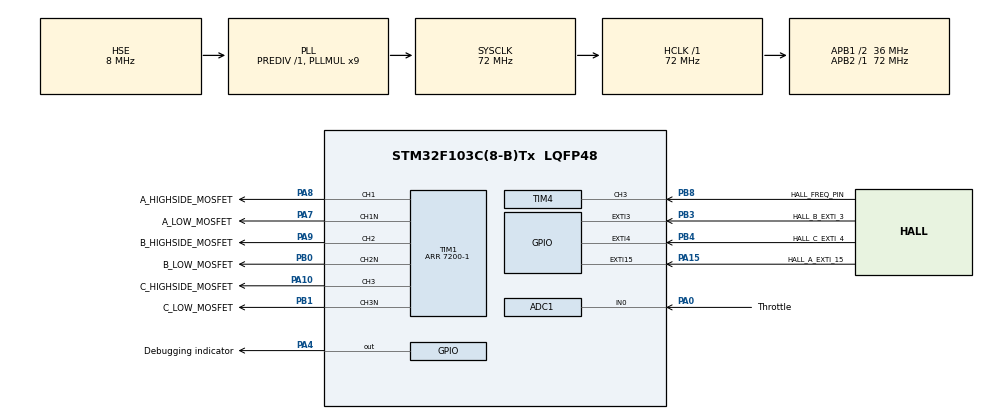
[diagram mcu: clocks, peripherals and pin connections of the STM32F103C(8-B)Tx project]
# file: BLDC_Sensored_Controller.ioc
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ADC1.Channel-0\#ChannelRegularConversion=ADC_CHANNEL_0
ADC1.ExternalTrigConv=ADC_EXTERNALTRIGCONV_T3_TRGO
ADC1.NbrOfConversionFlag=1
ADC1.Rank-0\#ChannelRegularConversion=1
ADC1.SamplingTime-0\#ChannelRegularConversion=ADC_SAMPLETIME_1CYCLE_5
ADC1.master=1
Mcu.Family=STM32F1
Mcu.Name=STM32F103C(8-B)Tx
Mcu.Package=LQFP48
NVIC.ADC1_2_IRQn=true\:0\:0\:false\:false\:true\:true\:true\:true
NVIC.EXTI15_10_IRQn=true\:0\:0\:false\:false\:true\:true\:true\:true
NVIC.EXTI3_IRQn=true\:0\:0\:false\:false\:true\:true\:true\:true
NVIC.EXTI4_IRQn=true\:0\:0\:false\:false\:true\:true\:true\:true
NVIC.PriorityGroup=NVIC_PRIORITYGROUP_4
NVIC.TIM4_IRQn=true\:0\:0\:false\:false\:true\:true\:true\:true
PA0-WKUP.GPIO_Label=Throttle
PA0-WKUP.Signal=ADCx_IN0
PA10.GPIO_Label=C_HIGHSIDE_MOSFET
PA10.Signal=S_TIM1_CH3
PA13.Mode=Serial_Wire
PA13.Signal=SYS_JTMS-SWDIO
PA14.Mode=Serial_Wire
PA14.Signal=SYS_JTCK-SWCLK
PA15.GPIO_Label=HALL_A_EXTI_15
PA15.GPIO_ModeDefaultEXTI=GPIO_MODE_IT_RISING_FALLING
PA15.GPIO_PuPd=GPIO_PULLUP
PA15.Signal=GPXTI15
PA4.GPIO_Label=Debugging indicator 
PA4.GPIO_Speed=GPIO_SPEED_FREQ_HIGH
PA4.Signal=GPIO_Output
PA7.GPIO_Label=A_LOW_MOSFET
PA7.Mode=PWM Generation1 CH1 CH1N
PA7.Signal=TIM1_CH1N
PA8.GPIO_Label=A_HIGHSIDE_MOSFET
PA8.Signal=S_TIM1_CH1
PA9.GPIO_Label=B_HIGHSIDE_MOSFET
PA9.Signal=S_TIM1_CH2
PB0.GPIO_Label=B_LOW_MOSFET
PB0.Mode=PWM Generation2 CH2 CH2N
PB0.Signal=TIM1_CH2N
PB1.GPIO_Label=C_LOW_MOSFET
PB1.Mode=PWM Generation3 CH3 CH3N
PB1.Signal=TIM1_CH3N
PB3.GPIO_Label=HALL_B_EXTI_3
PB3.GPIO_ModeDefaultEXTI=GPIO_MODE_IT_RISING_FALLING
PB3.GPIO_PuPd=GPIO_PULLUP
PB3.Signal=GPXTI3
PB4.GPIO_Label=HALL_C_EXTI_4
PB4.GPIO_ModeDefaultEXTI=GPIO_MODE_IT_RISING_FALLING
PB4.GPIO_PuPd=GPIO_PULLUP
PB4.Signal=GPXTI4
PB8.GPIO_Label=HALL_FREQ_PIN
PB8.Signal=S_TIM4_CH3
PD0-OSC_IN.Mode=HSE-External-Oscillator
PD0-OSC_IN.Signal=RCC_OSC_IN
PD1-OSC_OUT.Mode=HSE-External-Oscillator
PD1-OSC_OUT.Signal=RCC_OSC_OUT
ProjectManager.HeapSize=0x200
ProjectManager.StackSize=0x400
ProjectManager.TargetToolchain=STM32CubeIDE
RCC.ADCPresc=RCC_ADCPCLK2_DIV6
RCC.AHBFreq_Value=72000000
RCC.APB1CLKDivider=RCC_HCLK_DIV2
RCC.APB1Freq_Value=36000000
RCC.APB1TimFreq_Value=72000000
RCC.APB2Freq_Value=72000000
RCC.APB2TimFreq_Value=72000000
RCC.HCLKFreq_Value=72000000
RCC.PLLMUL=RCC_PLL_MUL9
RCC.PLLSourceVirtual=RCC_PLLSOURCE_HSE
RCC.SYSCLKFreq_VALUE=72000000
RCC.SYSCLKSource=RCC_SYSCLKSOURCE_PLLCLK
RCC.USBFreq_Value=72000000
SH.ADCx_IN0.0=ADC1_IN0,IN0
SH.S_TIM1_CH1.0=TIM1_CH1,PWM Generation1 CH1 CH1N
SH.S_TIM1_CH2.0=TIM1_CH2,PWM Generation2 CH2 CH2N
SH.S_TIM1_CH3.0=TIM1_CH3,PWM Generation3 CH3 CH3N
SH.S_TIM4_CH3.0=TIM4_CH3,Input_Capture3_from_TI3
TIM1.Channel-PWM\ Generation1\ CH1\ CH1N=TIM_CHANNEL_1
TIM1.Channel-PWM\ Generation2\ CH2\ CH2N=TIM_CHANNEL_2
TIM1.Channel-PWM\ Generation3\ CH3\ CH3N=TIM_CHANNEL_3
TIM1.OCNIdleState_1=TIM_OCNIDLESTATE_RESET
TIM1.OCNIdleState_2=TIM_OCNIDLESTATE_RESET
TIM1.OCNIdleState_3=TIM_OCNIDLESTATE_RESET
TIM1.Period=7200-1
TIM3.Channel-PWM\ Generation1\ No\ Output=TIM_CHANNEL_1
TIM3.Period=49999
TIM3.Prescaler=63
TIM3.TIM_MasterOutputTrigger=TIM_TRGO_UPDATE
TIM4.Channel-Input_Capture3_from_TI3=TIM_CHANNEL_3
TIM4.Prescaler=1097-1
VP_TIM1_VS_ClockSourceINT.Mode=Internal
VP_TIM3_VS_ClockSourceINT.Mode=Internal
VP_TIM3_VS_no_output1.Mode=PWM Generation1 No Output
VP_TIM4_VS_ClockSourceINT.Mode=Internal
board=custom

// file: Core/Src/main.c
/* USER CODE BEGIN Header */
/**
 ******************************************************************************
 * @file           : main.c
 * @brief          : Main program body
 ******************************************************************************
 * @attention
 *
 * Copyright (c) 2024 STMicroelectronics.
 * All rights reserved.
 *
 * This software is licensed under terms that can be found in the LICENSE file
 * in the root directory of this software component.
 * If no LICENSE file comes with this software, it is provided AS-IS.
 *
 ******************************************************************************
 */
/* USER CODE END Header */
#include "main.h"

/* USER CODE BEGIN Includes */
#include "../../hall_sensor/hall_sensor.h"
/* USER CODE END Includes */

/* USER CODE BEGIN PD */

/* ICU PD */
#define ICU_TIMCLOCK 72000000
#define ICU_MAX_TIMEOUT_COUNTS 2

/* USER CODE END PD */

ADC_HandleTypeDef hadc1;

TIM_HandleTypeDef htim1;
TIM_HandleTypeDef htim3;
TIM_HandleTypeDef htim4;

void SystemClock_Config(void);
static void MX_GPIO_Init(void);
static void MX_ADC1_Init(void);
static void MX_TIM1_Init(void);
static void MX_TIM3_Init(void);
static void MX_TIM4_Init(void);

/* USER CODE BEGIN 0 */

/*
 * Fetches speed % reading from throttle piece
 * Reads ADC data and remaps it to a percentage
 * @retval
 * */
uint8_t poll_speed();
/*
 * Start the peripheral for both channel and its complementary channel
 */
void set_ready_pwm_C_N(TIM_HandleTypeDef *htim, uint32_t channel);
/*
 * Starts pwm on a channel and its complement
 */
void start_pwm_C_N(TIM_HandleTypeDef *htim, uint32_t channel, uint16_t DC);
/*
 * Stops pwm on a channel and ~~Xits complementX~~ and sets complement to steady HIGH
 */
void stop_pwm_C_N(TIM_HandleTypeDef *htim, uint32_t channel);
// GLOBAL VARIABLES
HALL_SENSOR hs1, hs2, hs3;
HALL_STATE hstate;

volatile uint8_t Throttle_percent = 0;

/* ICU Variables */
volatile float hall_frequency = 0;
volatile float motor_rpm = 0;
volatile uint8_t ICU_timeout_count = 0;

/* USER CODE END 0 */

int main(void)
{

  /* MCU Configuration--------------------------------------------------------*/

  /* Reset of all peripherals, Initializes the Flash interface and the Systick. */
  HAL_Init();

  /* Configure the system clock */
  SystemClock_Config();

  /* Initialize all configured peripherals */
  MX_GPIO_Init();
  MX_ADC1_Init();
  MX_TIM1_Init();
  MX_TIM3_Init();
  MX_TIM4_Init();
  /* USER CODE BEGIN 2 */

	init_hall_sensor(&hs1, GPIOA, GPIO_PIN_15);
	init_hall_sensor(&hs2, GPIOB, GPIO_PIN_3);
	init_hall_sensor(&hs3, GPIOB, GPIO_PIN_4);

	HAL_TIM_Base_Start(&htim3); // Start Timer3 (Trigger Source For ADC1)
	HAL_ADC_Start_IT(&hadc1);   // 	Start ADC Conversion
	HAL_TIM_IC_Start_IT(&htim4, TIM_CHANNEL_3);

	set_ready_pwm_C_N(&htim1, TIM_CHANNEL_1);
	set_ready_pwm_C_N(&htim1, TIM_CHANNEL_2);
	set_ready_pwm_C_N(&htim1, TIM_CHANNEL_3);

	// Force trigger first hall capture to get the motor running
	EXTI->SWIER |= EXTI_SWIER_SWIER15; // Set the software interrupt for EXTI Line 15

  /* USER CODE END 2 */

  /* Infinite loop */
	while (1)
	{

	}
}

void SystemClock_Config(void)
{
  RCC_OscInitTypeDef RCC_OscInitStruct = {0};
  RCC_ClkInitTypeDef RCC_ClkInitStruct = {0};
  RCC_PeriphCLKInitTypeDef PeriphClkInit = {0};

  /** Initializes the RCC Oscillators according to the specified parameters
  * in the RCC_OscInitTypeDef structure.
  */
  RCC_OscInitStruct.OscillatorType = RCC_OSCILLATORTYPE_HSE;
  RCC_OscInitStruct.HSEState = RCC_HSE_ON;
  RCC_OscInitStruct.HSEPredivValue = RCC_HSE_PREDIV_DIV1;
  RCC_OscInitStruct.HSIState = RCC_HSI_ON;
  RCC_OscInitStruct.PLL.PLLState = RCC_PLL_ON;
  RCC_OscInitStruct.PLL.PLLSource = RCC_PLLSOURCE_HSE;
  RCC_OscInitStruct.PLL.PLLMUL = RCC_PLL_MUL9;
  if (HAL_RCC_OscConfig(&RCC_OscInitStruct) != HAL_OK)
  {
    Error_Handler();
  }

  /** Initializes the CPU, AHB and APB buses clocks
  */
  RCC_ClkInitStruct.ClockType = RCC_CLOCKTYPE_HCLK|RCC_CLOCKTYPE_SYSCLK
                              |RCC_CLOCKTYPE_PCLK1|RCC_CLOCKTYPE_PCLK2;
  RCC_ClkInitStruct.SYSCLKSource = RCC_SYSCLKSOURCE_PLLCLK;
  RCC_ClkInitStruct.AHBCLKDivider = RCC_SYSCLK_DIV1;
  RCC_ClkInitStruct.APB1CLKDivider = RCC_HCLK_DIV2;
  RCC_ClkInitStruct.APB2CLKDivider = RCC_HCLK_DIV1;

  if (HAL_RCC_ClockConfig(&RCC_ClkInitStruct, FLASH_LATENCY_2) != HAL_OK)
  {
    Error_Handler();
  }
  PeriphClkInit.PeriphClockSelection = RCC_PERIPHCLK_ADC;
  PeriphClkInit.AdcClockSelection = RCC_ADCPCLK2_DIV6;
  if (HAL_RCCEx_PeriphCLKConfig(&PeriphClkInit) != HAL_OK)
  {
    Error_Handler();
  }
}

static void MX_ADC1_Init(void)
{

  ADC_ChannelConfTypeDef sConfig = {0};

  /** Common config
  */
  hadc1.Instance = ADC1;
  hadc1.Init.ScanConvMode = ADC_SCAN_DISABLE;
  hadc1.Init.ContinuousConvMode = DISABLE;
  hadc1.Init.DiscontinuousConvMode = DISABLE;
  hadc1.Init.ExternalTrigConv = ADC_EXTERNALTRIGCONV_T3_TRGO;
  hadc1.Init.DataAlign = ADC_DATAALIGN_RIGHT;
  hadc1.Init.NbrOfConversion = 1;
  if (HAL_ADC_Init(&hadc1) != HAL_OK)
  {
    Error_Handler();
  }

  /** Configure Regular Channel
  */
  sConfig.Channel = ADC_CHANNEL_0;
  sConfig.Rank = ADC_REGULAR_RANK_1;
  sConfig.SamplingTime = ADC_SAMPLETIME_1CYCLE_5;
  if (HAL_ADC_ConfigChannel(&hadc1, &sConfig) != HAL_OK)
  {
    Error_Handler();
  }

}

static void MX_TIM1_Init(void)
{

  TIM_ClockConfigTypeDef sClockSourceConfig = {0};
  TIM_MasterConfigTypeDef sMasterConfig = {0};
  TIM_OC_InitTypeDef sConfigOC = {0};
  TIM_BreakDeadTimeConfigTypeDef sBreakDeadTimeConfig = {0};

  htim1.Instance = TIM1;
  htim1.Init.Prescaler = 0;
  htim1.Init.CounterMode = TIM_COUNTERMODE_UP;
  htim1.Init.Period = 7200-1;
  htim1.Init.ClockDivision = TIM_CLOCKDIVISION_DIV1;
  htim1.Init.RepetitionCounter = 0;
  htim1.Init.AutoReloadPreload = TIM_AUTORELOAD_PRELOAD_DISABLE;
  if (HAL_TIM_Base_Init(&htim1) != HAL_OK)
  {
    Error_Handler();
  }
  sClockSourceConfig.ClockSource = TIM_CLOCKSOURCE_INTERNAL;
  if (HAL_TIM_ConfigClockSource(&htim1, &sClockSourceConfig) != HAL_OK)
  {
    Error_Handler();
  }
  if (HAL_TIM_PWM_Init(&htim1) != HAL_OK)
  {
    Error_Handler();
  }
  sMasterConfig.MasterOutputTrigger = TIM_TRGO_RESET;
  sMasterConfig.MasterSlaveMode = TIM_MASTERSLAVEMODE_DISABLE;
  if (HAL_TIMEx_MasterConfigSynchronization(&htim1, &sMasterConfig) != HAL_OK)
  {
    Error_Handler();
  }
  sConfigOC.OCMode = TIM_OCMODE_PWM1;
  sConfigOC.Pulse = 0;
  sConfigOC.OCPolarity = TIM_OCPOLARITY_HIGH;
  sConfigOC.OCNPolarity = TIM_OCNPOLARITY_HIGH;
  sConfigOC.OCFastMode = TIM_OCFAST_DISABLE;
  sConfigOC.OCIdleState = TIM_OCIDLESTATE_RESET;
  sConfigOC.OCNIdleState = TIM_OCNIDLESTATE_RESET;
  if (HAL_TIM_PWM_ConfigChannel(&htim1, &sConfigOC, TIM_CHANNEL_1) != HAL_OK)
  {
    Error_Handler();
  }
  if (HAL_TIM_PWM_ConfigChannel(&htim1, &sConfigOC, TIM_CHANNEL_2) != HAL_OK)
  {
    Error_Handler();
  }
  if (HAL_TIM_PWM_ConfigChannel(&htim1, &sConfigOC, TIM_CHANNEL_3) != HAL_OK)
  {
    Error_Handler();
  }
  sBreakDeadTimeConfig.OffStateRunMode = TIM_OSSR_DISABLE;
  sBreakDeadTimeConfig.OffStateIDLEMode = TIM_OSSI_DISABLE;
  sBreakDeadTimeConfig.LockLevel = TIM_LOCKLEVEL_OFF;
  sBreakDeadTimeConfig.DeadTime = 0;
  sBreakDeadTimeConfig.BreakState = TIM_BREAK_DISABLE;
  sBreakDeadTimeConfig.BreakPolarity = TIM_BREAKPOLARITY_HIGH;
  sBreakDeadTimeConfig.AutomaticOutput = TIM_AUTOMATICOUTPUT_DISABLE;
  if (HAL_TIMEx_ConfigBreakDeadTime(&htim1, &sBreakDeadTimeConfig) != HAL_OK)
  {
    Error_Handler();
  }
  HAL_TIM_MspPostInit(&htim1);

}

static void MX_TIM3_Init(void)
{

  TIM_ClockConfigTypeDef sClockSourceConfig = {0};
  TIM_MasterConfigTypeDef sMasterConfig = {0};
  TIM_OC_InitTypeDef sConfigOC = {0};

  htim3.Instance = TIM3;
  htim3.Init.Prescaler = 63;
  htim3.Init.CounterMode = TIM_COUNTERMODE_UP;
  htim3.Init.Period = 49999;
  htim3.Init.ClockDivision = TIM_CLOCKDIVISION_DIV1;
  htim3.Init.AutoReloadPreload = TIM_AUTORELOAD_PRELOAD_DISABLE;
  if (HAL_TIM_Base_Init(&htim3) != HAL_OK)
  {
    Error_Handler();
  }
  sClockSourceConfig.ClockSource = TIM_CLOCKSOURCE_INTERNAL;
  if (HAL_TIM_ConfigClockSource(&htim3, &sClockSourceConfig) != HAL_OK)
  {
    Error_Handler();
  }
  if (HAL_TIM_PWM_Init(&htim3) != HAL_OK)
  {
    Error_Handler();
  }
  sMasterConfig.MasterOutputTrigger = TIM_TRGO_UPDATE;
  sMasterConfig.MasterSlaveMode = TIM_MASTERSLAVEMODE_DISABLE;
  if (HAL_TIMEx_MasterConfigSynchronization(&htim3, &sMasterConfig) != HAL_OK)
  {
    Error_Handler();
  }
  sConfigOC.OCMode = TIM_OCMODE_PWM1;
  sConfigOC.Pulse = 0;
  sConfigOC.OCPolarity = TIM_OCPOLARITY_HIGH;
  sConfigOC.OCFastMode = TIM_OCFAST_DISABLE;
  if (HAL_TIM_PWM_ConfigChannel(&htim3, &sConfigOC, TIM_CHANNEL_1) != HAL_OK)
  {
    Error_Handler();
  }

}

static void MX_TIM4_Init(void)
{

  TIM_ClockConfigTypeDef sClockSourceConfig = {0};
  TIM_MasterConfigTypeDef sMasterConfig = {0};
  TIM_IC_InitTypeDef sConfigIC = {0};

  htim4.Instance = TIM4;
  htim4.Init.Prescaler = 1097-1;
  htim4.Init.CounterMode = TIM_COUNTERMODE_UP;
  htim4.Init.Period = 65535;
  htim4.Init.ClockDivision = TIM_CLOCKDIVISION_DIV1;
  htim4.Init.AutoReloadPreload = TIM_AUTORELOAD_PRELOAD_DISABLE;
  if (HAL_TIM_Base_Init(&htim4) != HAL_OK)
  {
    Error_Handler();
  }
  sClockSourceConfig.ClockSource = TIM_CLOCKSOURCE_INTERNAL;
  if (HAL_TIM_ConfigClockSource(&htim4, &sClockSourceConfig) != HAL_OK)
  {
    Error_Handler();
  }
  if (HAL_TIM_IC_Init(&htim4) != HAL_OK)
  {
    Error_Handler();
  }
  sMasterConfig.MasterOutputTrigger = TIM_TRGO_RESET;
  sMasterConfig.MasterSlaveMode = TIM_MASTERSLAVEMODE_DISABLE;
  if (HAL_TIMEx_MasterConfigSynchronization(&htim4, &sMasterConfig) != HAL_OK)
  {
    Error_Handler();
  }
  sConfigIC.ICPolarity = TIM_INPUTCHANNELPOLARITY_RISING;
  sConfigIC.ICSelection = TIM_ICSELECTION_DIRECTTI;
  sConfigIC.ICPrescaler = TIM_ICPSC_DIV1;
  sConfigIC.ICFilter = 0;
  if (HAL_TIM_IC_ConfigChannel(&htim4, &sConfigIC, TIM_CHANNEL_3) != HAL_OK)
  {
    Error_Handler();
  }
  /* USER CODE BEGIN TIM4_Init 2 */
	// Enable update interrupt
	__HAL_TIM_ENABLE_IT(&htim4, TIM_IT_UPDATE);
  /* USER CODE END TIM4_Init 2 */

}

static void MX_GPIO_Init(void)
{
  GPIO_InitTypeDef GPIO_InitStruct = {0};

  /* GPIO Ports Clock Enable */
  __HAL_RCC_GPIOD_CLK_ENABLE();
  __HAL_RCC_GPIOA_CLK_ENABLE();
  __HAL_RCC_GPIOB_CLK_ENABLE();

  /*Configure GPIO pin Output Level */
  HAL_GPIO_WritePin(Debugging_indicator_GPIO_Port, Debugging_indicator_Pin, GPIO_PIN_RESET);

  /*Configure GPIO pin : Debugging_indicator_Pin */
  GPIO_InitStruct.Pin = Debugging_indicator_Pin;
  GPIO_InitStruct.Mode = GPIO_MODE_OUTPUT_PP;
  GPIO_InitStruct.Pull = GPIO_NOPULL;
  GPIO_InitStruct.Speed = GPIO_SPEED_FREQ_HIGH;
  HAL_GPIO_Init(Debugging_indicator_GPIO_Port, &GPIO_InitStruct);

  /*Configure GPIO pin : HALL_A_EXTI_15_Pin */
  GPIO_InitStruct.Pin = HALL_A_EXTI_15_Pin;
  GPIO_InitStruct.Mode = GPIO_MODE_IT_RISING_FALLING;
  GPIO_InitStruct.Pull = GPIO_PULLUP;
  HAL_GPIO_Init(HALL_A_EXTI_15_GPIO_Port, &GPIO_InitStruct);

  /*Configure GPIO pins : HALL_B_EXTI_3_Pin HALL_C_EXTI_4_Pin */
  GPIO_InitStruct.Pin = HALL_B_EXTI_3_Pin|HALL_C_EXTI_4_Pin;
  GPIO_InitStruct.Mode = GPIO_MODE_IT_RISING_FALLING;
  GPIO_InitStruct.Pull = GPIO_PULLUP;
  HAL_GPIO_Init(GPIOB, &GPIO_InitStruct);

  /* EXTI interrupt init*/
  HAL_NVIC_SetPriority(EXTI3_IRQn, 0, 0);
  HAL_NVIC_EnableIRQ(EXTI3_IRQn);

  HAL_NVIC_SetPriority(EXTI4_IRQn, 0, 0);
  HAL_NVIC_EnableIRQ(EXTI4_IRQn);

  HAL_NVIC_SetPriority(EXTI15_10_IRQn, 0, 0);
  HAL_NVIC_EnableIRQ(EXTI15_10_IRQn);

}

/* USER CODE BEGIN 4 */

uint8_t poll_speed()
{
	//gonna use it for naive digital filter
	static uint16_t last_val = 0;
	uint16_t adc_val;
	/*
	 HAL_ADC_Start(&hadc1); // start the adc

	 HAL_ADC_PollForConversion(&hadc1, 100); // poll for conversion

	 adc_val = HAL_ADC_GetValue(&hadc1); // get the adc value

	 HAL_ADC_Stop(&hadc1); // stop adc
	 */
	adc_val = HAL_ADC_GetValue(&hadc1);
	// steps range : 496 (400 mv) => 1539 (1.24v)
	if (adc_val < 496)
		adc_val = 496;
	if (adc_val > 1539)
		adc_val = 1539;
	if (adc_val >= last_val)
		adc_val = last_val + (adc_val - last_val) / 2;
	else
		adc_val = last_val - (last_val - adc_val) / 2;
	last_val = adc_val;
	return (adc_val - 496) * (uint16_t) (100) / (1539 - 496);
}
void start_pwm_C_N(TIM_HandleTypeDef *htim, uint32_t channel, uint16_t CC_VAL)
{
	switch (channel)
	{
	case TIM_CHANNEL_1:
		htim->Instance->CCR1 = CC_VAL;
		break;
	case TIM_CHANNEL_2:
		htim->Instance->CCR2 = CC_VAL;
		break;
	case TIM_CHANNEL_3:
		htim->Instance->CCR3 = CC_VAL;
		break;
	};
}
void set_ready_pwm_C_N(TIM_HandleTypeDef *htim, uint32_t channel)
{
	HAL_TIM_PWM_Start(htim, channel);
	HAL_TIMEx_PWMN_Start(htim, channel);
}

void stop_pwm_C_N(TIM_HandleTypeDef *htim, uint32_t channel)
{
	/**
	 * Currently , we stop a channel by setting it's DC to 0 => Low side is high , this is correct for 180 commutation , stick to this design for now
	 */
	switch (channel)
	{
	case TIM_CHANNEL_1:
		htim->Instance->CCR1 = 0;
		break;
	case TIM_CHANNEL_2:
		htim->Instance->CCR2 = 0;
		break;
	case TIM_CHANNEL_3:
		htim->Instance->CCR3 = 0;
		break;
	};
	return;
	HAL_TIM_PWM_Stop(htim, channel);
	HAL_TIMEx_PWMN_Stop(htim, channel);
}
void set_pin_as_gpio_high(GPIO_TypeDef *GPIOx, uint16_t GPIO_Pin)
{
	// ignore for now , who knows we may need it sometime..
	return;
	uint32_t pin_pos = __builtin_ctz(GPIO_Pin); // Find the pin position (0-15)

	// Disable the timer output
	//__HAL_TIM_DISABLE(&htim1);
	// Determine if it's in CRL (pins 0-7) or CRH (pins 8-15)
	if (pin_pos < 8)
	{
		GPIOx->CRL &= ~(0xF << (pin_pos * 4)); // Clear the 4-bit field
		GPIOx->CRL |= (0x3 << (pin_pos * 4)); // Set MODE=11 (50 MHz), CNF=00 (Push-Pull)
	}
	else
	{
		pin_pos -= 8;
		GPIOx->CRH &= ~(0xF << (pin_pos * 4)); // Clear the 4-bit field
		GPIOx->CRH |= (0x3 << (pin_pos * 4)); // Set MODE=11 (50 MHz), CNF=00 (Push-Pull)
	}

	// Set the pin HIGH
	GPIOx->BSRR = GPIO_Pin;
	// re-enable the timer
	//__HAL_TIM_ENABLE(&htim1);
}
void set_pin_as_pwm(GPIO_TypeDef *GPIOx, uint16_t GPIO_Pin)
{
	uint32_t pin_pos = __builtin_ctz(GPIO_Pin); // Find the pin position (0-15)

	// Disable the timer output
	__HAL_TIM_DISABLE(&htim1);

	// Determine if it's in CRL (pins 0-7) or CRH (pins 8-15)
	if (pin_pos < 8)
	{
		GPIOx->CRL &= ~(0xF << (pin_pos * 4)); // Clear the 4-bit field
		GPIOx->CRL |= (0xB << (pin_pos * 4)); // Set MODE=10 (Input mode), CNF=11 (Alternate Function Push-Pull)
	}
	else
	{
		pin_pos -= 8;
		GPIOx->CRH &= ~(0xF << (pin_pos * 4)); // Clear the 4-bit field
		GPIOx->CRH |= (0xB << (pin_pos * 4)); // Set MODE=10 (Input mode), CNF=11 (Alternate Function Push-Pull)
	}

	// Re-enable the timer output
	__HAL_TIM_ENABLE(&htim1);
}
/*
 * Hall Sensors state change ISR
 * Manages BLDC commutation.
 * 180 Commutation is implemented alongside complementary switching
 * (during unforced period of the PWM , charged coils discharge to ground without Free wheeling diodes)
 * Max Freq = 6 * 220 = ~ 1320 hz
 */
void HAL_GPIO_EXTI_Callback(uint16_t GPIO_Pin)
{

	update_hall_state(&hstate, &hs1, &hs2, &hs3);
	//{0b101 , 0b001 , 0b011 , 0b010 , 0b110 , 0b100};
	// transition , could be wrong , easily fixed by reordering conditions of the following cases..
	// in other words, set up accordingly..

	/*#Testing
	 reset GPIO pins to pwm..
	 HAL_TIM_MspPostInit(&htim1);
	 */

	uint16_t CC_VAL = ((uint32_t) (TIM1->ARR) * Throttle_percent) / 100;

	//TIM1->CCR1 = CC_VAL;
	//TIM1->CCR2 = CC_VAL;
	//TIM1->CCR3 = CC_VAL;
	switch (hstate.state)
	{
	// 101 => 0 - 60 deg => A+ B- C+
	case 5:
		// A+
		start_pwm_C_N(&htim1, TIM_CHANNEL_1, CC_VAL);
		// C+
		start_pwm_C_N(&htim1, TIM_CHANNEL_3, CC_VAL);
		// B-
		// stop pwm
		stop_pwm_C_N(&htim1, TIM_CHANNEL_2);
		// connect Coil B to sink..
		// set_pin_as_gpio_high(GPIOB, GPIO_PIN_0);
		break;
		// 60 - 120 => + - -
	case 1:
		// A+
		start_pwm_C_N(&htim1, TIM_CHANNEL_1, CC_VAL);
		stop_pwm_C_N(&htim1, TIM_CHANNEL_2);
		stop_pwm_C_N(&htim1, TIM_CHANNEL_3);
		// B-
		// set_pin_as_gpio_high(GPIOB, GPIO_PIN_0);
		// C-
		// set_pin_as_gpio_high(GPIOB, GPIO_PIN_1);
		break;
		// 120 - 180 => + + -
	case 3:
		// A+
		start_pwm_C_N(&htim1, TIM_CHANNEL_1, CC_VAL);
		// B+
		start_pwm_C_N(&htim1, TIM_CHANNEL_2, CC_VAL);
		// C-
		stop_pwm_C_N(&htim1, TIM_CHANNEL_3);
		// set_pin_as_gpio_high(GPIOB, GPIO_PIN_1);
		break;
		// 180 - 240 => - + -
	case 2:
		// B +
		start_pwm_C_N(&htim1, TIM_CHANNEL_2, CC_VAL);

		// A -
		stop_pwm_C_N(&htim1, TIM_CHANNEL_1);
		// set_pin_as_gpio_high(GPIOA, GPIO_PIN_7);
		// C -
		stop_pwm_C_N(&htim1, TIM_CHANNEL_3);
		// set_pin_as_gpio_high(GPIOB, GPIO_PIN_1);
		break;
		// 240 - 300 => - + +
	case 6:
		// B+
		start_pwm_C_N(&htim1, TIM_CHANNEL_2, CC_VAL);
		// C+
		start_pwm_C_N(&htim1, TIM_CHANNEL_3, CC_VAL);
		// A-
		stop_pwm_C_N(&htim1, TIM_CHANNEL_1);
		// set_pin_as_gpio_high(GPIOA, GPIO_PIN_7);
		break;
		// 300 - 360 => - - +
	case 4:
		// C+
		start_pwm_C_N(&htim1, TIM_CHANNEL_3, CC_VAL);
		// A-
		stop_pwm_C_N(&htim1, TIM_CHANNEL_1);
		// set_pin_as_gpio_high(GPIOA, GPIO_PIN_7);
		// B-
		stop_pwm_C_N(&htim1, TIM_CHANNEL_2);
		// set_pin_as_gpio_high(GPIOB, GPIO_PIN_0);
		break;
	default:
		break;
	}
	HAL_GPIO_TogglePin(GPIOA, GPIO_PIN_4);
	return;
}

void HAL_ADC_ConvCpltCallback(ADC_HandleTypeDef *hadc)
{
	uint8_t speed = poll_speed();
	// Limit Throtlle percentage (PWM DC) to [10%, 90%] & 0%.
	// This is to allow inverter capacitors to recharge constantly.
	if (speed > 90)
	{
		Throttle_percent = 90;
	}
	else if (speed < 10)
	{
		Throttle_percent = 0;
	}
	else
	{
		Throttle_percent = speed;
	}
}

void HAL_TIM_IC_CaptureCallback(TIM_HandleTypeDef *htim)
{
	static uint16_t IC_Val1 = 0;
	static uint16_t IC_Val2 = 0;
	static uint16_t difference = 0;
	static uint8_t captured_first = 0;

	if (htim->Channel == HAL_TIM_ACTIVE_CHANNEL_3)
	{
		// Reset timeout counter
		ICU_timeout_count = 0;

		if (!captured_first) // if the first rising edge is not captured
		{
			IC_Val1 = HAL_TIM_ReadCapturedValue(htim, TIM_CHANNEL_3); // read the first value
			captured_first = 1;                // set the first captured as true
		}

		else // If the first rising edge is captured, now we will capture the second edge
		{
			IC_Val2 = HAL_TIM_ReadCapturedValue(htim, TIM_CHANNEL_3); // read second value

			if (IC_Val2 > IC_Val1)
			{
				difference = IC_Val2 - IC_Val1;
			}

			else if (IC_Val1 > IC_Val2)
			{
				// In case of counter overflow before second capture
				difference = (0xFFFF - IC_Val1) + IC_Val2;
			}

			float refClock = (float) ICU_TIMCLOCK / (TIM4->PSC + 1);

			hall_frequency = refClock / difference;
			motor_rpm = 60 * hall_frequency / 23;

			__HAL_TIM_SET_COUNTER(htim, 0); // reset the counter
			captured_first = 0;             // set it back to false
		}
	}

	return;
}

void HAL_TIM_PeriodElapsedCallback(TIM_HandleTypeDef *htim)
{
	if (htim->Instance == TIM4)
	{
		// Timer 4 has overflowed
		ICU_timeout_count++;
		if (ICU_timeout_count >= ICU_MAX_TIMEOUT_COUNTS)
		{
			// Handle frequency = 0 case
			hall_frequency = 0;
			motor_rpm = 0;
			// Ensure timeout counter variable doesn't overflow
			ICU_timeout_count = ICU_MAX_TIMEOUT_COUNTS;
		}
	}
}

/* USER CODE END 4 */

void Error_Handler(void)
{
	__disable_irq();
	while (1)
	{
	}
}
